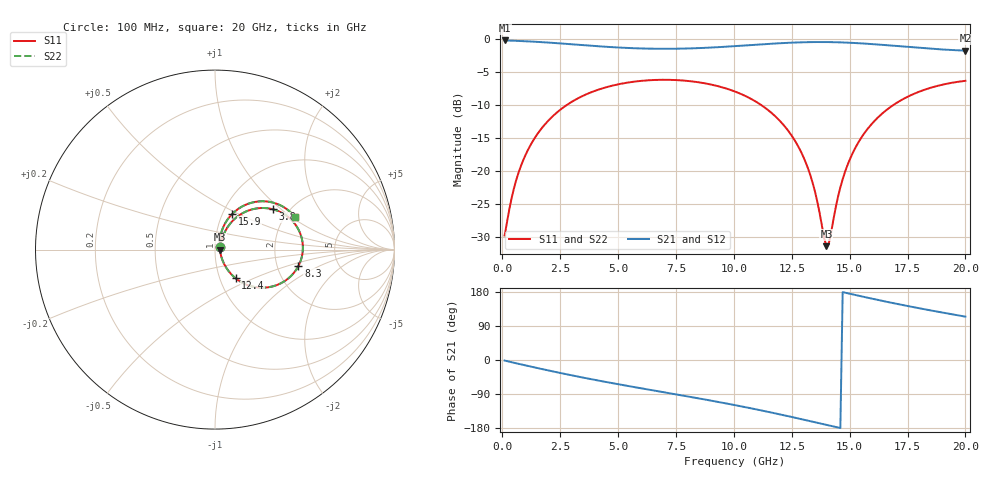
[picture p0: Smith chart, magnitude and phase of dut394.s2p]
! Touchstone file exported from HFSS 2026.1.0
!  File:  C:/ffzhzh/LocalFiles/Ansys_Project_Files/temp_train_TSV_RDL_394_1783091229_46604.aedt
!  Generated:  11:18:25 PM Jul  3, 2026
!  Design:  TSV_RDL
!  Project:  temp_train_TSV_RDL_394_1783091229_46604
! Variables:
!  h_bsmrdl = 3.04um
!  h_ox = 20um
!  h_rdl = 5um
!  h_sub = 91.34um
!  h_tmrdl = 3.06um
!  h_tsv = 91.34um
!  h_via = 3um
!  l_bsmrdl = 145.52um
!  l_sub = 3896.28um
!  l_tmrdl = 742.07um
!  m_sub = 200um
!  pitch = 33.3um
!  r_tsv = 6.62um
!  s_tmrdl = 10um
!  w_bsmrdl = 16.91um
!  w_sub = 500um
!  w_tmrdl = 13.57um
!  x_tsv_center1 = 748.855um
!  x_tsv_center2 = 911.285um
!  x_tsv_center3 = 1666.925um
!  x_tsv_center4 = 1829.355um
!  x_tsv_center5 = 2584.995um
!  x_tsv_center6 = 2747.425um
# GHz S MA R 50.000000
! Terminal data exported
! Port[1] = TM_RDL1_1_T1
! Port[2] = TM_RDL5_1_T1
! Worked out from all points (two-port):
!   200 points, 100 MHz to 20 GHz, reference 50 ohm
!   highest |S21| = -0.26 dB at 100 MHz (marker M1); lowest = -1.8 dB at 20 GHz (marker M2)
!   |S21| within 3 dB of the highest: start of sweep to end of sweep
!   lowest |S11| = -31.3 dB at 14 GHz (marker M3), VSWR 1.06, Z = 52.8 - j0.0544 ohm
!   |S11| at or under -10 dB: start of sweep to 2.786 GHz; 11.18 GHz to 16.89 GHz (5.712 GHz wide, 40.7 % of centre)
!   |S22| runs from -31.3 to -6.2 dB; largest |S21 - S12| = 1.6e-14
!   S11 on the Smith chart (normalised r, x): 100 MHz: 1.06, +0.03; 3.8 GHz: 1.65, +0.88; 8.3 GHz: 2.63, -0.62; 12.4 GHz: 1.19, -0.39; 15.9 GHz: 1.11, +0.47; 20 GHz: 2.27, +1.06
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0.1  0.03272 23.7  0.9703 -1.5  0.9703 -1.5  0.03272 23.7
! Gamma 0 0 0 0
! Port Impedance 50 0 50 0
0.6  0.08562 58.9  0.964 -8.7  0.964 -8.7  0.08561 58.9
1.2  0.1553 60.3  0.9533 -17.0  0.9533 -17.0  0.1553 60.3
2.2  0.2623 52.1  0.93 -30.3  0.93 -30.3  0.2623 52.1
3.5  0.3719 38.3  0.894 -46.6  0.894 -46.6  0.3719 38.3
3.8  0.3919 35.0  0.8859 -50.2  0.8859 -50.2  0.3919 35.0
5.4  0.4662 18.3  0.8518 -68.3  0.8518 -68.3  0.4662 18.3
6.8  0.4896 4.1  0.8395 -83.3  0.8395 -83.3  0.4896 4.1
8.3  0.4738 -11.0  0.8471 -99.3  0.8471 -99.3  0.4738 -11.0
10.1  0.3962 -30.0  0.8803 -119.7  0.8803 -119.7  0.3962 -30.0
11.4  0.2967 -44.2  0.9118 -135.8  0.9118 -135.8  0.2967 -44.2
12.4  0.1964 -54.3  0.9324 -149.0  0.9324 -149.0  0.1963 -54.3
13  0.1286 -58.1  0.9404 -157.2  0.9404 -157.2  0.1286 -58.1
13.4  0.08214 -56.4  0.9433 -162.8  0.9433 -162.8  0.08212 -56.4
14  0.0272 -1.1  0.9435 -171.2  0.9435 -171.2  0.0271 -1.1
14.1  0.02841 23.2  0.9431 -172.6  0.9431 -172.6  0.02831 23.3
14.5  0.06429 64.7  0.9398 -178.2  0.9398 -178.2  0.06424 64.8
14.9  0.1102 70.0  0.9343 176.3  0.9343 176.3  0.1102 70.1
15.9  0.2217 64.1  0.9128 162.7  0.9128 162.7  0.2217 64.2
16.7  0.2996 56.0  0.8906 152.4  0.8906 152.4  0.2995 56.0
18.2  0.41 40.1  0.8482 134.3  0.8482 134.3  0.41 40.1
20  0.4811 21.9  0.8134 114.4  0.8134 114.4  0.4811 21.9
